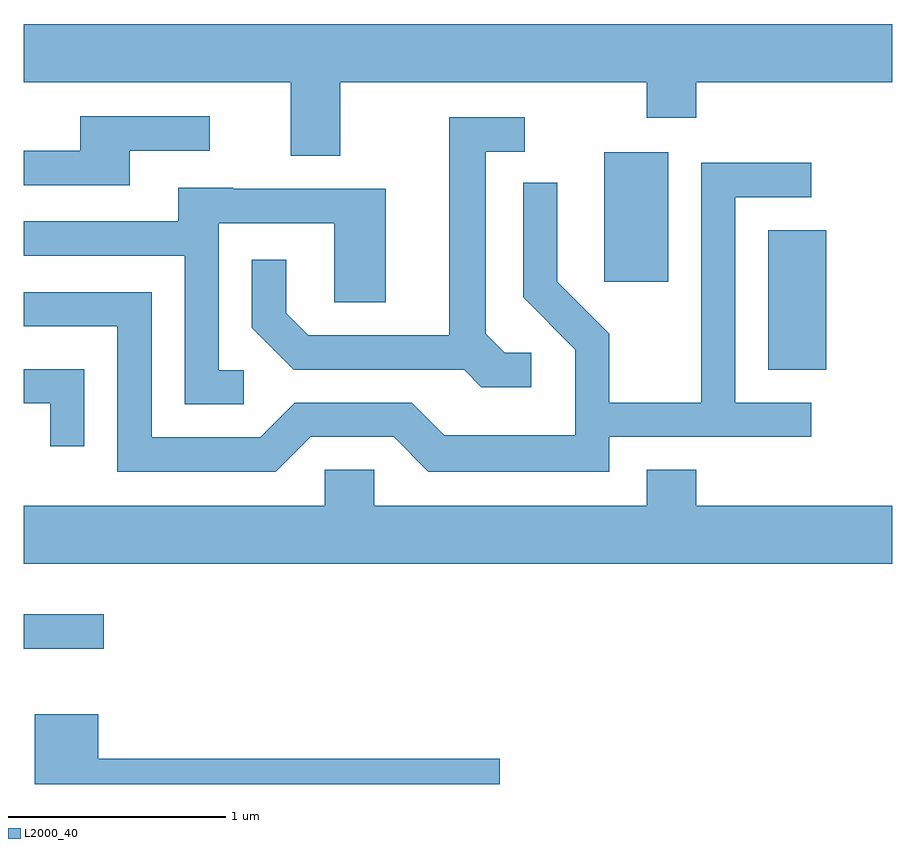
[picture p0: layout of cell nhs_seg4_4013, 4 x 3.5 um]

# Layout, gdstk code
import gdstk
lib = gdstk.Library(unit=1e-6, precision=1e-09)
def R(c, l, rs):  # rectangles x0, y0, x1, y1
    for r in rs: c.add(gdstk.rectangle(r[:2], r[2:], *l))
def P(c, l, *ps):  # polygons
    for p in ps: c.add(gdstk.Polygon(p, *l))
L2000_40 = (2000, 40)

nhs_seg4_4013 = lib.new_cell('nhs_seg4_4013')
R(nhs_seg4_4013, L2000_40, [(303.611,1256.606,303.978,1256.764), (307.041,1257.891,307.309,1258.534), (306.286,1258.296,306.579,1258.894)])
P(nhs_seg4_4013, L2000_40, [(305.069,1259.216),(306.481,1259.216),(306.481,1259.051),(306.709,1259.051),(306.709,1259.216),(307.611,1259.216),(307.611,1259.484),(303.611,1259.484),(303.611,1259.216),(304.841,1259.216),(304.841,1258.876),(305.069,1258.876)],
  [(304.099,1258.901),(304.468,1258.901),(304.468,1259.059),(303.871,1259.059),(303.871,1258.899),(303.611,1258.899),(303.611,1258.741),(304.099,1258.741)],
  [(305.948,1257.969),(305.827,1257.969),(305.739,1258.057),(305.739,1258.896),(305.918,1258.896),(305.918,1259.054),(305.571,1259.054),(305.571,1258.049),(304.922,1258.049),(304.819,1258.152),(304.819,1258.398),(304.661,1258.398),(304.661,1258.084),(304.854,1257.891),(305.639,1257.891),(305.719,1257.811),(305.948,1257.811)],
  [(304.932,1257.581),(305.314,1257.581),(305.474,1257.421),(306.309,1257.421),(306.309,1257.581),(307.238,1257.581),(307.238,1257.739),(306.889,1257.739),(306.889,1258.686),(307.238,1258.686),(307.238,1258.844),(306.731,1258.844),(306.731,1257.739),(306.309,1257.739),(306.309,1258.057),(306.069,1258.297),(306.069,1258.753),(305.911,1258.753),(305.911,1258.224),(306.151,1257.984),(306.151,1257.589),(305.547,1257.589),(305.397,1257.739),(304.859,1257.739),(304.699,1257.579),(304.199,1257.579),(304.199,1258.249),(303.611,1258.249),(303.611,1258.091),(304.041,1258.091),(304.041,1257.421),(304.772,1257.421)],
  [(304.623,1257.889),(304.509,1257.889),(304.509,1258.566),(305.041,1258.566),(305.041,1258.201),(305.279,1258.201),(305.279,1258.724),(304.575,1258.724),(304.575,1258.729),(304.321,1258.729),(304.321,1258.574),(303.611,1258.574),(303.611,1258.416),(304.351,1258.416),(304.351,1257.731),(304.623,1257.731)],
  [(303.889,1257.894),(303.611,1257.894),(303.611,1257.736),(303.731,1257.736),(303.731,1257.538),(303.889,1257.538)],
  [(307.611,1257.264),(306.709,1257.264),(306.709,1257.429),(306.481,1257.429),(306.481,1257.264),(305.224,1257.264),(305.224,1257.429),(304.996,1257.429),(304.996,1257.264),(303.611,1257.264),(303.611,1256.996),(307.611,1256.996)],
  [(305.804,1256.099),(303.954,1256.099),(303.954,1256.304),(303.661,1256.304),(303.661,1255.982),(305.804,1255.982)])

lib.write_gds('nhs_seg4_4013.gds')
